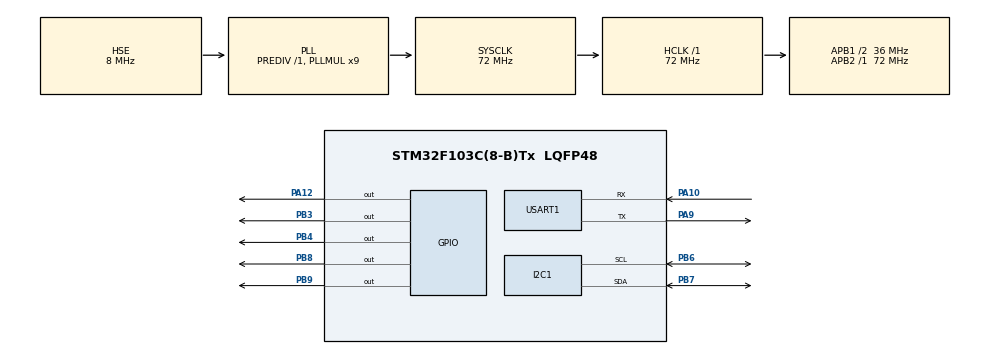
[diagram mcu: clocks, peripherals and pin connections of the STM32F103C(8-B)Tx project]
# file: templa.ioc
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FREERTOS.BinarySemaphores01=UARST_RX,Dynamic,NULL
FREERTOS.Events01=myEvent01,Dynamic,NULL
FREERTOS.Mutexes01=myMutex01,Dynamic,NULL
FREERTOS.Queues01=myQueue01,3,uint32_t,0,Dynamic,NULL,NULL;USAR_RX,2,uint8_t,0,Dynamic,NULL,NULL
FREERTOS.Tasks01=defaultTask,24,128,StartDefaultTask,Default,NULL,Dynamic,NULL,NULL;myTask02,24,128,OLED_SHOW_1,Default,NULL,Dynamic,NULL,NULL;myTask03,24,128,OLED_SHOW_2,Default,NULL,Dynamic,NULL,NULL;myTask04,24,128,USART_TX,Default,NULL,Dynamic,NULL,NULL;myTask05,8,128,LED_Flash_2,Default,NULL,Dynamic,NULL,NULL
FREERTOS.configTOTAL_HEAP_SIZE=10*1024
FREERTOS.configUSE_NEWLIB_REENTRANT=1
I2C1.I2C_Mode=I2C_Fast
Mcu.Family=STM32F1
Mcu.Name=STM32F103C(8-B)Tx
Mcu.Package=LQFP48
NVIC.PriorityGroup=NVIC_PRIORITYGROUP_4
NVIC.TIM4_IRQn=true\:0\:0\:false\:false\:true\:false\:false\:true\:true
NVIC.TimeBase=TIM4_IRQn
NVIC.TimeBaseIP=TIM4
NVIC.USART1_IRQn=true\:5\:0\:false\:false\:true\:true\:true\:true\:true
PA10.Mode=Asynchronous
PA10.Signal=USART1_RX
PA12.GPIO_Speed=GPIO_SPEED_FREQ_HIGH
PA12.PinState=GPIO_PIN_SET
PA12.Signal=GPIO_Output
PA13.Mode=Serial_Wire
PA13.Signal=SYS_JTMS-SWDIO
PA14.Mode=Serial_Wire
PA14.Signal=SYS_JTCK-SWCLK
PA9.Mode=Asynchronous
PA9.Signal=USART1_TX
PB3.GPIO_Speed=GPIO_SPEED_FREQ_HIGH
PB3.PinState=GPIO_PIN_SET
PB3.Signal=GPIO_Output
PB4.GPIO_Speed=GPIO_SPEED_FREQ_HIGH
PB4.PinState=GPIO_PIN_SET
PB4.Signal=GPIO_Output
PB6.Mode=I2C
PB6.Signal=I2C1_SCL
PB7.Mode=I2C
PB7.Signal=I2C1_SDA
PB8.GPIO_ModeDefaultOutputPP=GPIO_MODE_OUTPUT_OD
PB8.GPIO_PuPd=GPIO_NOPULL
PB8.GPIO_Speed=GPIO_SPEED_FREQ_HIGH
PB8.Signal=GPIO_Output
PB9.GPIO_ModeDefaultOutputPP=GPIO_MODE_OUTPUT_OD
PB9.GPIO_PuPd=GPIO_NOPULL
PB9.GPIO_Speed=GPIO_SPEED_FREQ_HIGH
PB9.Signal=GPIO_Output
PD0-OSC_IN.Mode=HSE-External-Oscillator
PD0-OSC_IN.Signal=RCC_OSC_IN
PD1-OSC_OUT.Mode=HSE-External-Oscillator
PD1-OSC_OUT.Signal=RCC_OSC_OUT
ProjectManager.HeapSize=0x200
ProjectManager.StackSize=0x400
ProjectManager.TargetToolchain=STM32CubeIDE
RCC.AHBFreq_Value=72000000
RCC.APB1CLKDivider=RCC_HCLK_DIV2
RCC.APB1Freq_Value=36000000
RCC.APB1TimFreq_Value=72000000
RCC.APB2Freq_Value=72000000
RCC.APB2TimFreq_Value=72000000
RCC.HCLKFreq_Value=72000000
RCC.PLLMUL=RCC_PLL_MUL9
RCC.PLLSourceVirtual=RCC_PLLSOURCE_HSE
RCC.SYSCLKFreq_VALUE=72000000
RCC.SYSCLKSource=RCC_SYSCLKSOURCE_PLLCLK
RCC.USBFreq_Value=72000000
USART1.VirtualMode=VM_ASYNC
VP_FREERTOS_VS_CMSIS_V2.Mode=CMSIS_V2
VP_SYS_VS_tim4.Mode=TIM4
board=custom

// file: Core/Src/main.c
/* USER CODE BEGIN Header */
/**
  ******************************************************************************
  * @file           : main.c
  * @brief          : Main program body
  ******************************************************************************
  * @attention
  *
  * Copyright (c) 2024 STMicroelectronics.
  * All rights reserved.
  *
  * This software is licensed under terms that can be found in the LICENSE file
  * in the root directory of this software component.
  * If no LICENSE file comes with this software, it is provided AS-IS.
  *
  ******************************************************************************
  */
/* USER CODE END Header */
#include "main.h"
#include "cmsis_os.h"
#include "i2c.h"
#include "usart.h"
#include "gpio.h"

/* USER CODE BEGIN Includes */
#include "OLED.h"
#include "MPU6050.h"
/* USER CODE END Includes */

void SystemClock_Config(void);
void MX_FREERTOS_Init(void);

/* USER CODE BEGIN 0 */
uint8_t uart;

/* USER CODE END 0 */

int main(void)
{

  /* MCU Configuration--------------------------------------------------------*/

  /* Reset of all peripherals, Initializes the Flash interface and the Systick. */
  HAL_Init();

  /* Configure the system clock */
  SystemClock_Config();

  /* Initialize all configured peripherals */
  MX_GPIO_Init();
  MX_I2C1_Init();
  MX_USART1_UART_Init();
  /* USER CODE BEGIN 2 */
    OLED_Init();
    mpu_dmp_init();
    HAL_UART_Receive_IT(&huart1,&uart,1);

   // float  pitch,roll,yaw;
  /* USER CODE END 2 */

  /* Init scheduler */
  osKernelInitialize();

  /* Call init function for freertos objects (in cmsis_os2.c) */
  MX_FREERTOS_Init();

  /* Start scheduler */
  osKernelStart();

  /* We should never get here as control is now taken by the scheduler */

  /* Infinite loop */
  while (1)
  {

  }
}

void SystemClock_Config(void)
{
  RCC_OscInitTypeDef RCC_OscInitStruct = {0};
  RCC_ClkInitTypeDef RCC_ClkInitStruct = {0};

  /** Initializes the RCC Oscillators according to the specified parameters
  * in the RCC_OscInitTypeDef structure.
  */
  RCC_OscInitStruct.OscillatorType = RCC_OSCILLATORTYPE_HSE;
  RCC_OscInitStruct.HSEState = RCC_HSE_ON;
  RCC_OscInitStruct.HSEPredivValue = RCC_HSE_PREDIV_DIV1;
  RCC_OscInitStruct.HSIState = RCC_HSI_ON;
  RCC_OscInitStruct.PLL.PLLState = RCC_PLL_ON;
  RCC_OscInitStruct.PLL.PLLSource = RCC_PLLSOURCE_HSE;
  RCC_OscInitStruct.PLL.PLLMUL = RCC_PLL_MUL9;
  if (HAL_RCC_OscConfig(&RCC_OscInitStruct) != HAL_OK)
  {
    Error_Handler();
  }

  /** Initializes the CPU, AHB and APB buses clocks
  */
  RCC_ClkInitStruct.ClockType = RCC_CLOCKTYPE_HCLK|RCC_CLOCKTYPE_SYSCLK
                              |RCC_CLOCKTYPE_PCLK1|RCC_CLOCKTYPE_PCLK2;
  RCC_ClkInitStruct.SYSCLKSource = RCC_SYSCLKSOURCE_PLLCLK;
  RCC_ClkInitStruct.AHBCLKDivider = RCC_SYSCLK_DIV1;
  RCC_ClkInitStruct.APB1CLKDivider = RCC_HCLK_DIV2;
  RCC_ClkInitStruct.APB2CLKDivider = RCC_HCLK_DIV1;

  if (HAL_RCC_ClockConfig(&RCC_ClkInitStruct, FLASH_LATENCY_2) != HAL_OK)
  {
    Error_Handler();
  }
}

/* USER CODE BEGIN 4 */
/*void HAL_UART_RxCpltCallback(UART_HandleTypeDef *huart)
{
    if(huart==&huart1){
        //HAL_UART_Receive_IT(&huart1,);

      //  printf("%c\n",uart);
        xQueueSend(USAR_RXHandle,&uart,100);
        HAL_UART_Receive_IT(&huart1,&uart,1);
     }
}*/
/* USER CODE END 4 */

void HAL_TIM_PeriodElapsedCallback(TIM_HandleTypeDef *htim)
{
  if (htim->Instance == TIM4) {
    HAL_IncTick();
  }
}

void Error_Handler(void)
{
  __disable_irq();
  while (1)
  {
  }
}

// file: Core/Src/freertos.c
/* USER CODE BEGIN Header */
/**
  ******************************************************************************
  * File Name          : freertos.c
  * Description        : Code for freertos applications
  ******************************************************************************
  * @attention
  *
  * Copyright (c) 2024 STMicroelectronics.
  * All rights reserved.
  *
  * This software is licensed under terms that can be found in the LICENSE file
  * in the root directory of this software component.
  * If no LICENSE file comes with this software, it is provided AS-IS.
  *
  ******************************************************************************
  */
/* USER CODE END Header */

#include "FreeRTOS.h"
#include "task.h"
#include "main.h"
#include "cmsis_os.h"

/* USER CODE BEGIN Includes */
#include "queue.h"
#include "OLED.h"
#include "MPU6050.h"
#include "stream_buffer.h"
#include "list.h"
#include "croutine.h"
#include "semphr.h"
#include "usart.h"
#include "event_groups.h"
/* USER CODE END Includes */

/* Definitions for defaultTask */
osThreadId_t defaultTaskHandle;
const osThreadAttr_t defaultTask_attributes = {
  .name = "defaultTask",
  .stack_size = 128 * 4,
  .priority = (osPriority_t) osPriorityNormal,
};
/* Definitions for myTask02 */
osThreadId_t myTask02Handle;
const osThreadAttr_t myTask02_attributes = {
  .name = "myTask02",
  .stack_size = 128 * 4,
  .priority = (osPriority_t) osPriorityNormal,
};
/* Definitions for myTask03 */
osThreadId_t myTask03Handle;
const osThreadAttr_t myTask03_attributes = {
  .name = "myTask03",
  .stack_size = 128 * 4,
  .priority = (osPriority_t) osPriorityNormal,
};
/* Definitions for myTask04 */
osThreadId_t myTask04Handle;
const osThreadAttr_t myTask04_attributes = {
  .name = "myTask04",
  .stack_size = 128 * 4,
  .priority = (osPriority_t) osPriorityNormal,
};
/* Definitions for myTask05 */
osThreadId_t myTask05Handle;
const osThreadAttr_t myTask05_attributes = {
  .name = "myTask05",
  .stack_size = 128 * 4,
  .priority = (osPriority_t) osPriorityLow,
};
/* Definitions for myQueue01 */
osMessageQueueId_t myQueue01Handle;
const osMessageQueueAttr_t myQueue01_attributes = {
  .name = "myQueue01"
};
/* Definitions for USAR_RX */
osMessageQueueId_t USAR_RXHandle;
const osMessageQueueAttr_t USAR_RX_attributes = {
  .name = "USAR_RX"
};
/* Definitions for myMutex01 */
osMutexId_t myMutex01Handle;
const osMutexAttr_t myMutex01_attributes = {
  .name = "myMutex01"
};
/* Definitions for UARST_RX */
osSemaphoreId_t UARST_RXHandle;
const osSemaphoreAttr_t UARST_RX_attributes = {
  .name = "UARST_RX"
};
/* Definitions for myEvent01 */
osEventFlagsId_t myEvent01Handle;
const osEventFlagsAttr_t myEvent01_attributes = {
  .name = "myEvent01"
};

void StartDefaultTask(void *argument);
void OLED_SHOW_1(void *argument);
void OLED_SHOW_2(void *argument);
void USART_TX(void *argument);
void LED_Flash_2(void *argument);

void MX_FREERTOS_Init(void); /* (MISRA C 2004 rule 8.1) */

void MX_FREERTOS_Init(void) {
  /* Create the mutex(es) */
  /* creation of myMutex01 */
  myMutex01Handle = osMutexNew(&myMutex01_attributes);

  /* Create the semaphores(s) */
  /* creation of UARST_RX */
  UARST_RXHandle = osSemaphoreNew(1, 0, &UARST_RX_attributes);

  /* Create the queue(s) */
  /* creation of myQueue01 */
  myQueue01Handle = osMessageQueueNew (3, sizeof(uint32_t), &myQueue01_attributes);

  /* creation of USAR_RX */
  USAR_RXHandle = osMessageQueueNew (2, sizeof(uint8_t), &USAR_RX_attributes);

  /* Create the thread(s) */
  /* creation of defaultTask */
  defaultTaskHandle = osThreadNew(StartDefaultTask, NULL, &defaultTask_attributes);

  /* creation of myTask02 */
  myTask02Handle = osThreadNew(OLED_SHOW_1, NULL, &myTask02_attributes);

  /* creation of myTask03 */
  myTask03Handle = osThreadNew(OLED_SHOW_2, NULL, &myTask03_attributes);

  /* creation of myTask04 */
  myTask04Handle = osThreadNew(USART_TX, NULL, &myTask04_attributes);

  /* creation of myTask05 */
  myTask05Handle = osThreadNew(LED_Flash_2, NULL, &myTask05_attributes);

  /* creation of myEvent01 */
  myEvent01Handle = osEventFlagsNew(&myEvent01_attributes);

  /* USER CODE BEGIN RTOS_EVENTS */
  /* add events, ... */
 // vTaskStartScheduler();
  /* USER CODE END RTOS_EVENTS */

}

void StartDefaultTask(void *argument)
{
  /* USER CODE BEGIN StartDefaultTask */
  /* Infinite loop */
  for(;;)
  {   static  uint16_t count;
      HAL_GPIO_TogglePin(GPIOB,GPIO_PIN_3);
      count++;
      if(count==5) {
         // xTaskNotifyGive(myTask02Handle);  //释放任务通知，�?�知Task2
          xEventGroupSetBits(myEvent01Handle , 0x01);
count=0;
      }

    osDelay(1000);
  }
  /* USER CODE END StartDefaultTask */
}

void OLED_SHOW_1(void *argument)
{
  /* USER CODE BEGIN OLED_SHOW_1 */
  /* Infinite loop */
  for(;;)
  { static int32_t count;
      uint16_t COUNT;
      count++;
     xQueueSend(myQueue01Handle,&count,10);

      xSemaphoreTake(myMutex01Handle,portMAX_DELAY);
      OLED_ShowNum(1,1,count,4);
      xSemaphoreGive(myMutex01Handle);

    // uint32_t  x=ulTaskNotifyTake(pdTRUE,10);//获取任务通知

    osDelay(1);
  }
  /* USER CODE END OLED_SHOW_1 */
}

void OLED_SHOW_2(void *argument)
{
  /* USER CODE BEGIN OLED_SHOW_2 */
  /* Infinite loop */
  for(;;)
  {   int32_t  count;
      xQueueReceive(myQueue01Handle,&count,10);
      xSemaphoreTake(myMutex01Handle,portMAX_DELAY);
      OLED_ShowNum(2,1,count,4);
      xSemaphoreGive(myMutex01Handle);
      osDelay(1);
  }
  /* USER CODE END OLED_SHOW_2 */
}

void USART_TX(void *argument)
{
  /* USER CODE BEGIN USART_TX */
  /* Infinite loop */
    static  uint8_t  Rx;
    static uint32_t count;
    BaseType_t err=pdFALSE;
  for(;;)
  {

      count++;
      err= xSemaphoreTake(UARST_RXHandle,10);
    if(err==pdTRUE)
    { xQueueReceive(USAR_RXHandle,&Rx,10);
        xSemaphoreTake(myMutex01Handle,10);
        OLED_ShowHexNum(3,1,Rx,4);
      OLED_ShowNum(4,1,count,4);
      xSemaphoreGive(myMutex01Handle);}
       osDelay(1);
  }
  /* USER CODE END USART_TX */
}

void LED_Flash_2(void *argument)
{
  /* USER CODE BEGIN LED_Flash_2 */
  /* Infinite loop */
  for(;;)
  {

      uint32_t x=xEventGroupWaitBits(myEvent01Handle ,0x01,pdTRUE,pdTRUE,portMAX_DELAY);
          HAL_GPIO_TogglePin(GPIOB,GPIO_PIN_4);

    osDelay(1);
  }
  /* USER CODE END LED_Flash_2 */
}

/* USER CODE BEGIN Application */
void HAL_UART_RxCpltCallback(UART_HandleTypeDef *huart)
{

    BaseType_t *pxHigherPriorityTaskWoken;
    if(huart==&huart1){
        //HAL_UART_Receive_IT(&huart1,);
       static uint8_t uart;
        //  printf("%c\n",uart);
        xQueueSendFromISR(USAR_RXHandle,&uart,pxHigherPriorityTaskWoken);
        HAL_UART_Receive_IT(&huart1,&uart,1);
        xSemaphoreGiveFromISR(UARST_RXHandle,pxHigherPriorityTaskWoken);
    }
}
/* USER CODE END Application */
